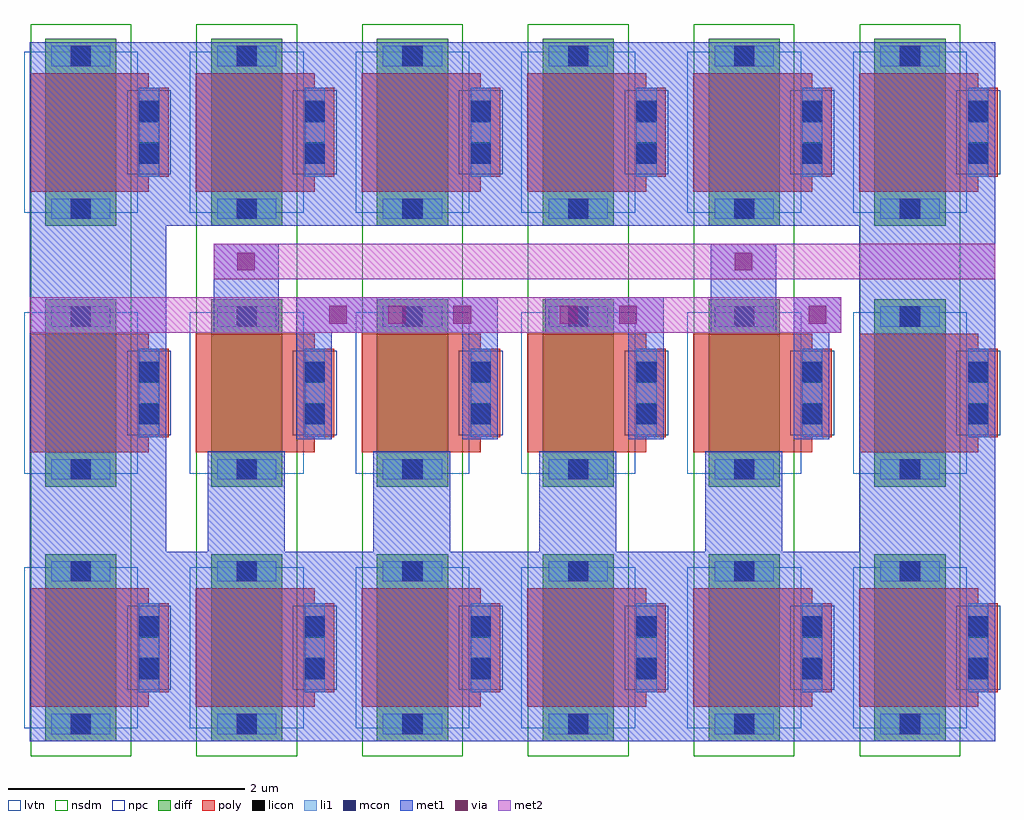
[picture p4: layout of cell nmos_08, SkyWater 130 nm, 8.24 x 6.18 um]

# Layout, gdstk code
from math import pi, radians
import gdstk
lib = gdstk.Library(unit=1e-6, precision=1e-09)
def R(c, l, rs):  # rectangles x0, y0, x1, y1
    for r in rs: c.add(gdstk.rectangle(r[:2], r[2:], *l))
def A(c, l, x, y, w, h, nx, ny, dx, dy):  # array of equal rectangles
    R(c, l, [(x+i*dx, y+j*dy, x+i*dx+w, y+j*dy+h) for i in range(nx) for j in range(ny)])
diff = (65, 20)
poly = (66, 20)
licon = (66, 44)
li1 = (67, 20)
mcon = (67, 44)
met1 = (68, 20)
via = (68, 44)
met2 = (69, 20)
nsdm = (93, 44)
npc = (95, 20)
lvtn = (125, 44)

sky130_fd_pr__nfet_01v8_ = lib.new_cell('sky130_fd_pr__nfet_01v8_lvt_LTPL8U')
R(sky130_fd_pr__nfet_01v8_, diff, [(-0.79,-0.455,0.79,0.145)])
R(sky130_fd_pr__nfet_01v8_, poly, [(-0.5,-0.585,0.5,0.42), (-0.375,0.42,0.375,0.585)])
R(sky130_fd_pr__nfet_01v8_, licon, [(-0.73,-0.24,-0.56,-0.07), (0.56,-0.24,0.73,-0.07), (-0.255,0.335,-0.085,0.505), (0.085,0.335,0.255,0.505)])
R(sky130_fd_pr__nfet_01v8_, li1, [(-0.73,-0.405,-0.56,0.095), (0.56,-0.405,0.73,0.095), (-0.375,0.335,0.375,0.505)])
R(sky130_fd_pr__nfet_01v8_, mcon, [(-0.73,-0.24,-0.56,-0.07), (0.56,-0.24,0.73,-0.07), (-0.265,0.335,-0.095,0.505), (0.095,0.335,0.265,0.505)])
R(sky130_fd_pr__nfet_01v8_, met1, [(-0.76,-0.385,-0.53,0.075), (0.53,-0.385,0.76,0.075), (-0.355,0.305,0.355,0.535)])
R(sky130_fd_pr__nfet_01v8_, nsdm, [(-0.915,-0.58,0.915,0.27)])
R(sky130_fd_pr__nfet_01v8_, npc, [(-0.355,0.235,0.355,0.605)])
R(sky130_fd_pr__nfet_01v8_, lvtn, [(-0.68,-0.635,0.68,0.325)])

nmos_08 = lib.new_cell('nmos_08')
A(nmos_08, met1, 1.5, 1.6, 0.65, 0.85, 4, 1, 1.4, 0)
A(nmos_08, met1, 2.25, 2.55, 0.3, 0.9, 4, 1, 1.4, 0)
R(nmos_08, met1, [(0,0,8.15,1.6), (0,1.6,1.15,4.35), (7,1.6,8.15,4.35), (1.55,3.45,2.1,4.2), (2.25,3.45,3.95,3.75), (4.35,3.45,5.35,3.75), (5.75,3.45,6.3,4.2), (6.45,3.45,6.85,3.75), (0,4.35,8.15,5.9)])
R(nmos_08, via, [(2.525,3.525,2.675,3.675), (3.025,3.525,3.175,3.675), (3.575,3.525,3.725,3.675), (4.475,3.525,4.625,3.675), (4.975,3.525,5.125,3.675), (6.575,3.525,6.725,3.675), (1.75,3.975,1.9,4.125), (5.95,3.975,6.1,4.125)])
R(nmos_08, met2, [(0,3.45,6.85,3.75), (1.55,3.9,8.15,4.2)])
A(nmos_08, nsdm, 0.005, 1.705, 0.85, 0.32, 6, 1, 1.4, 0)
A(nmos_08, nsdm, 0.005, 3.855, 0.85, 0.37, 6, 1, 1.4, 0)
nmos_08.add(gdstk.Reference(sky130_fd_pr__nfet_01v8_, (1.985,0.79), rotation=pi/2, x_reflection=True))
nmos_08.add(gdstk.Reference(sky130_fd_pr__nfet_01v8_, (0.585,0.79), rotation=pi/2, x_reflection=True))
nmos_08.add(gdstk.Reference(sky130_fd_pr__nfet_01v8_, (3.385,0.79), rotation=pi/2, x_reflection=True))
nmos_08.add(gdstk.Reference(sky130_fd_pr__nfet_01v8_, (6.185,0.79), rotation=pi/2, x_reflection=True))
nmos_08.add(gdstk.Reference(sky130_fd_pr__nfet_01v8_, (4.785,0.79), rotation=pi/2, x_reflection=True))
nmos_08.add(gdstk.Reference(sky130_fd_pr__nfet_01v8_, (7.585,0.79), rotation=pi/2, x_reflection=True))
nmos_08.add(gdstk.Reference(sky130_fd_pr__nfet_01v8_, (0.585,2.94), rotation=pi/2, x_reflection=True))
nmos_08.add(gdstk.Reference(sky130_fd_pr__nfet_01v8_, (1.985,2.94), rotation=pi/2, x_reflection=True))
nmos_08.add(gdstk.Reference(sky130_fd_pr__nfet_01v8_, (3.385,2.94), rotation=pi/2, x_reflection=True))
nmos_08.add(gdstk.Reference(sky130_fd_pr__nfet_01v8_, (4.785,2.94), rotation=pi/2, x_reflection=True))
nmos_08.add(gdstk.Reference(sky130_fd_pr__nfet_01v8_, (6.185,2.94), rotation=pi/2, x_reflection=True))
nmos_08.add(gdstk.Reference(sky130_fd_pr__nfet_01v8_, (7.585,2.94), rotation=pi/2, x_reflection=True))
nmos_08.add(gdstk.Reference(sky130_fd_pr__nfet_01v8_, (1.985,5.14), rotation=pi/2, x_reflection=True))
nmos_08.add(gdstk.Reference(sky130_fd_pr__nfet_01v8_, (0.585,5.14), rotation=pi/2, x_reflection=True))
nmos_08.add(gdstk.Reference(sky130_fd_pr__nfet_01v8_, (3.385,5.14), rotation=pi/2, x_reflection=True))
nmos_08.add(gdstk.Reference(sky130_fd_pr__nfet_01v8_, (6.185,5.14), rotation=pi/2, x_reflection=True))
nmos_08.add(gdstk.Reference(sky130_fd_pr__nfet_01v8_, (4.785,5.14), rotation=pi/2, x_reflection=True))
nmos_08.add(gdstk.Reference(sky130_fd_pr__nfet_01v8_, (7.585,5.14), rotation=pi/2, x_reflection=True))

lib.write_gds('nmos_08.gds')
